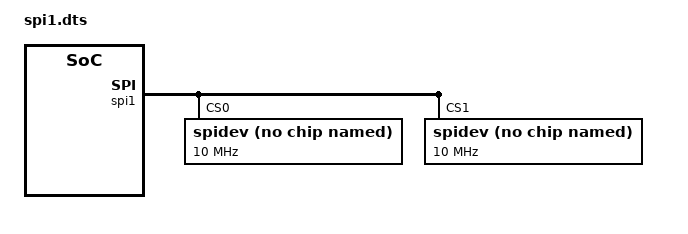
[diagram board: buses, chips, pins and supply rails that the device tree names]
/dts-v1/;
/plugin/;

&spi1 {
	#address-cells = <1>;
	#size-cells = <0>;
	status = "okay";

	spidev@0 {
		compatible = "rohm,dh2228fv";
		reg = <0>;
		spi-max-frequency = <10000000>;
	};

	spidev@1 {
		compatible = "rohm,dh2228fv";
		reg = <1>;
		spi-max-frequency = <10000000>;
	};
};
